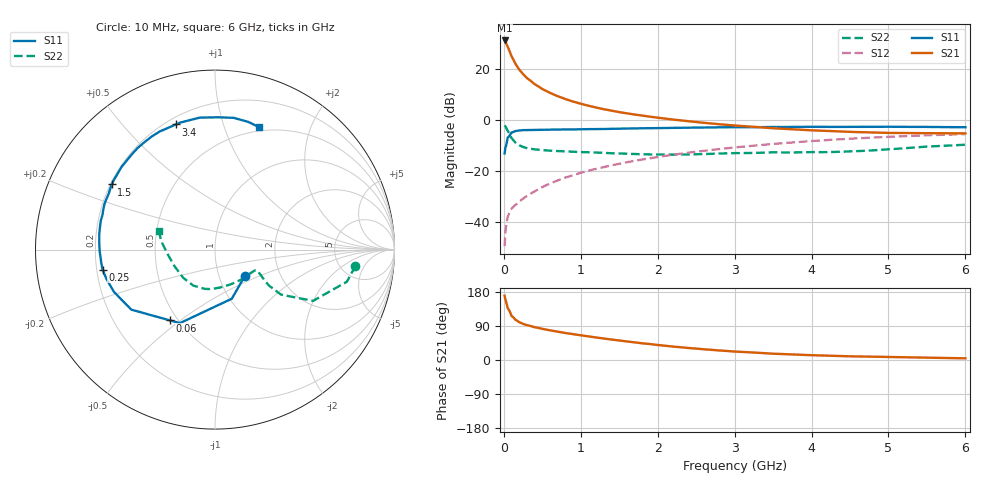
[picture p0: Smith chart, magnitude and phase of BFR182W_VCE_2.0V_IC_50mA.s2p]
! Infineon Technologies  Discrete & RF Semiconductors
! BFR182W
! VCE =  2.0 V,  IC =  50 mA
! Common Emitter S-Parameters:  Jan 2017
# GHz  S  MA  R  50
!  f  S11  S21  S12  S22
! GHz  MAG  ANG  MAG  ANG  MAG  ANG  MAG  ANG
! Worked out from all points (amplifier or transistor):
!   77 points, 10 MHz to 6 GHz, reference 50 ohm
!   highest |S21| = 31.2 dB at 10 MHz (marker M1)
!   |S21| within 3 dB of that: start of sweep to 57.93 MHz
!   unconditionally stable (mu >= 1): start of sweep to 16.54 MHz; 187.8 MHz to end of sweep
!   at 130 MHz: K = 0.83, MSG = 28.6 dB, |S12| = -33.8 dB
!   at 2.2 GHz: K = 1.12, MAG = 4.8 dB, |S12| = -13.6 dB
!   at 6 GHz: K = 1.08, MAG = -1.6 dB, |S12| = -5.5 dB
!   S11 on the Smith chart (normalised r, x): 10 MHz: 1.32, -0.41; 60 MHz: 0.46, -0.46; 250 MHz: 0.22, -0.08; 1.5 GHz: 0.21, +0.28; 3.4 GHz: 0.24, +0.71; 6 GHz: 0.46, +1.32
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0.01  0.2223 -42.0  36.29 169.6  0.0034 63.7  0.788 -6.6
0.02  0.2893 -71.1  35.02 159.9  0.0063 67.5  0.7561 -13.7
0.05  0.4538 -115.5  27.37 136.7  0.0128 57.4  0.6169 -27.6
0.06  0.4669 -122.3  25.27 133.9  0.0139 56.1  0.582 -28.6
0.1  0.5737 -144.3  17.8 116.4  0.0184 52.5  0.4449 -34.3
0.15  0.61 -157.2  12.71 106.3  0.0217 53.5  0.362 -33.7
0.2  0.6261 -164.7  9.79 100.0  0.0252 57.5  0.3212 -31.6
0.25  0.6365 -169.9  7.95 95.3  0.0291 60.0  0.2979 -29.6
0.3  0.638 -173.7  6.665 92.0  0.0327 62.1  0.2826 -28.3
0.4  0.6429 -179.4  5.062 86.5  0.0401 66.5  0.2676 -26.9
0.5  0.6465 176.0  4.069 82.2  0.0488 68.4  0.2589 -26.7
0.6  0.6506 172.3  3.416 78.3  0.0574 70.0  0.252 -27.4
0.7  0.6528 169.1  2.941 74.8  0.0658 71.6  0.2478 -28.5
0.9  0.656 163.0  2.306 68.2  0.0832 72.5  0.2403 -32.1
1.1  0.666 157.6  1.914 62.3  0.1024 72.7  0.2348 -36.6
1.5  0.6799 147.7  1.435 51.5  0.1397 71.4  0.222 -47.8
2.1  0.7002 133.6  1.069 37.6  0.1996 67.1  0.211 -70.0
3.1  0.7263 113.2  0.765 21.3  0.3012 56.8  0.2261 -107.9
3.4  0.7305 107.3  0.711 17.9  0.3311 53.4  0.2311 -117.8
4.1  0.7384 95.0  0.622 12.1  0.3974 44.7  0.236 -142.4
5.1  0.7395 80.7  0.56 7.6  0.4771 32.3  0.2743 -179.0
6  0.7253 70.1  0.55 4.4  0.5324 21.8  0.3298 161.5
